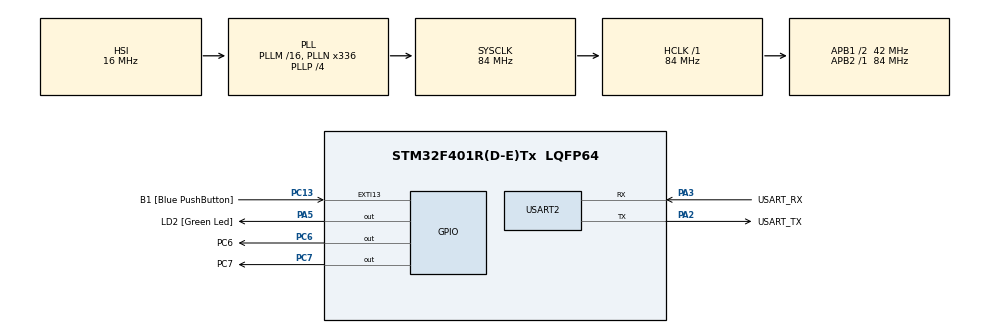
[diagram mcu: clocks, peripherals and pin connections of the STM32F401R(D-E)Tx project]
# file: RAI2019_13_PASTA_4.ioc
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FREERTOS.Tasks01=defaultTask,0,128,StartDefaultTask,Default,NULL
Mcu.Family=STM32F4
Mcu.Name=STM32F401R(D-E)Tx
Mcu.Package=LQFP64
NVIC.PriorityGroup=NVIC_PRIORITYGROUP_4
NVIC.USART2_IRQn=true\:5\:0\:false\:false\:true\:true\:true\:true
PA13.GPIO_Label=TMS
PA13.Mode=Serial_Wire
PA13.Signal=SYS_JTMS-SWDIO
PA14.GPIO_Label=TCK
PA14.Mode=Serial_Wire
PA14.Signal=SYS_JTCK-SWCLK
PA2.GPIO_Label=USART_TX
PA2.GPIO_Mode=GPIO_MODE_AF_PP
PA2.GPIO_PuPd=GPIO_NOPULL
PA2.GPIO_Speed=GPIO_SPEED_FREQ_LOW
PA2.Mode=Asynchronous
PA2.Signal=USART2_TX
PA3.GPIO_Label=USART_RX
PA3.GPIO_Mode=GPIO_MODE_AF_PP
PA3.GPIO_PuPd=GPIO_NOPULL
PA3.GPIO_Speed=GPIO_SPEED_FREQ_LOW
PA3.Mode=Asynchronous
PA3.Signal=USART2_RX
PA5.GPIO_Label=LD2 [Green Led]
PA5.GPIO_Mode=GPIO_MODE_OUTPUT_PP
PA5.GPIO_PuPd=GPIO_NOPULL
PA5.GPIO_Speed=GPIO_SPEED_FREQ_LOW
PA5.Signal=GPIO_Output
PB3.GPIO_Label=SWO
PB3.Signal=SYS_JTDO-SWO
PC13-ANTI_TAMP.GPIO_Label=B1 [Blue PushButton]
PC13-ANTI_TAMP.GPIO_ModeDefaultEXTI=GPIO_MODE_IT_FALLING
PC13-ANTI_TAMP.GPIO_PuPd=GPIO_NOPULL
PC13-ANTI_TAMP.Signal=GPXTI13
PC14-OSC32_IN.Mode=LSE-External-Oscillator
PC14-OSC32_IN.Signal=RCC_OSC32_IN
PC15-OSC32_OUT.Mode=LSE-External-Oscillator
PC15-OSC32_OUT.Signal=RCC_OSC32_OUT
PC6.GPIO_Label=PC6
PC6.Signal=GPIO_Output
PC7.GPIO_Label=PC7
PC7.Signal=GPIO_Output
PH0\ -\ OSC_IN.Mode=HSE-External-Clock-Source
PH0\ -\ OSC_IN.Signal=RCC_OSC_IN
PH1\ -\ OSC_OUT.Mode=HSE-External-Clock-Source
PH1\ -\ OSC_OUT.Signal=RCC_OSC_OUT
ProjectManager.HeapSize=0x200
ProjectManager.StackSize=0x400
ProjectManager.TargetToolchain=SW4STM32
RCC.48MHZClocksFreq_Value=48000000
RCC.AHBFreq_Value=84000000
RCC.APB1CLKDivider=RCC_HCLK_DIV2
RCC.APB1Freq_Value=42000000
RCC.APB1TimFreq_Value=84000000
RCC.APB2Freq_Value=84000000
RCC.APB2TimFreq_Value=84000000
RCC.CortexFreq_Value=84000000
RCC.HCLKFreq_Value=84000000
RCC.HSE_VALUE=8000000
RCC.HSI_VALUE=16000000
RCC.PLLN=336
RCC.PLLP=RCC_PLLP_DIV4
RCC.PLLQ=7
RCC.SYSCLKFreq_VALUE=84000000
RCC.SYSCLKSource=RCC_SYSCLKSOURCE_PLLCLK
RCC.VCOOutputFreq_Value=336000000
USART2.VirtualMode=VM_ASYNC
VP_FREERTOS_VS_CMSIS_V1.Mode=CMSIS_V1
board=NUCLEO-F401RE

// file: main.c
/* USER CODE BEGIN Header */
/**
  ******************************************************************************
  * @file           : main.c
  * @brief          : Main program body
  ******************************************************************************
  * @attention
  *
  * <h2><center>&copy; Copyright (c) 2019 STMicroelectronics.
  * All rights reserved.</center></h2>
  *
  * This software component is licensed by ST under Ultimate Liberty license
  * SLA0044, the "License"; You may not use this file except in compliance with
  * the License. You may obtain a copy of the License at:
  *                             www.st.com/SLA0044
  *
  ******************************************************************************
  */
/* USER CODE END Header */

#include "main.h"
#include "cmsis_os.h"

/* USER CODE BEGIN Includes */
#include <string.h>
/* USER CODE END Includes */

UART_HandleTypeDef huart2;

osThreadId defaultTaskHandle;
/* USER CODE BEGIN PV */
uint8_t buffer[6];
/* USER CODE END PV */

void SystemClock_Config(void);
static void MX_GPIO_Init(void);
static void MX_USART2_UART_Init(void);
void StartDefaultTask(void const * argument);

int main(void)
{

  /* MCU Configuration--------------------------------------------------------*/

  /* Reset of all peripherals, Initializes the Flash interface and the Systick. */
  HAL_Init();

  /* Configure the system clock */
  SystemClock_Config();

  /* Initialize all configured peripherals */
  MX_GPIO_Init();
  MX_USART2_UART_Init();

  /* Create the thread(s) */
  /* definition and creation of defaultTask */
  osThreadDef(defaultTask, StartDefaultTask, osPriorityNormal, 0, 128);
  defaultTaskHandle = osThreadCreate(osThread(defaultTask), NULL);

  /* Start scheduler */
  osKernelStart();

  /* We should never get here as control is now taken by the scheduler */

  /* Infinite loop */
  while (1)
  {

  }
}

void SystemClock_Config(void)
{
  RCC_OscInitTypeDef RCC_OscInitStruct = {0};
  RCC_ClkInitTypeDef RCC_ClkInitStruct = {0};

  /** Configure the main internal regulator output voltage
  */
  __HAL_RCC_PWR_CLK_ENABLE();
  __HAL_PWR_VOLTAGESCALING_CONFIG(PWR_REGULATOR_VOLTAGE_SCALE2);
  /** Initializes the CPU, AHB and APB busses clocks
  */
  RCC_OscInitStruct.OscillatorType = RCC_OSCILLATORTYPE_HSI;
  RCC_OscInitStruct.HSIState = RCC_HSI_ON;
  RCC_OscInitStruct.HSICalibrationValue = RCC_HSICALIBRATION_DEFAULT;
  RCC_OscInitStruct.PLL.PLLState = RCC_PLL_ON;
  RCC_OscInitStruct.PLL.PLLSource = RCC_PLLSOURCE_HSI;
  RCC_OscInitStruct.PLL.PLLM = 16;
  RCC_OscInitStruct.PLL.PLLN = 336;
  RCC_OscInitStruct.PLL.PLLP = RCC_PLLP_DIV4;
  RCC_OscInitStruct.PLL.PLLQ = 7;
  if (HAL_RCC_OscConfig(&RCC_OscInitStruct) != HAL_OK)
  {
    Error_Handler();
  }
  /** Initializes the CPU, AHB and APB busses clocks
  */
  RCC_ClkInitStruct.ClockType = RCC_CLOCKTYPE_HCLK|RCC_CLOCKTYPE_SYSCLK
                              |RCC_CLOCKTYPE_PCLK1|RCC_CLOCKTYPE_PCLK2;
  RCC_ClkInitStruct.SYSCLKSource = RCC_SYSCLKSOURCE_PLLCLK;
  RCC_ClkInitStruct.AHBCLKDivider = RCC_SYSCLK_DIV1;
  RCC_ClkInitStruct.APB1CLKDivider = RCC_HCLK_DIV2;
  RCC_ClkInitStruct.APB2CLKDivider = RCC_HCLK_DIV1;

  if (HAL_RCC_ClockConfig(&RCC_ClkInitStruct, FLASH_LATENCY_2) != HAL_OK)
  {
    Error_Handler();
  }
}

static void MX_USART2_UART_Init(void)
{

  huart2.Instance = USART2;
  huart2.Init.BaudRate = 115200;
  huart2.Init.WordLength = UART_WORDLENGTH_8B;
  huart2.Init.StopBits = UART_STOPBITS_1;
  huart2.Init.Parity = UART_PARITY_NONE;
  huart2.Init.Mode = UART_MODE_TX_RX;
  huart2.Init.HwFlowCtl = UART_HWCONTROL_NONE;
  huart2.Init.OverSampling = UART_OVERSAMPLING_16;
  if (HAL_UART_Init(&huart2) != HAL_OK)
  {
    Error_Handler();
  }

}

static void MX_GPIO_Init(void)
{
  GPIO_InitTypeDef GPIO_InitStruct = {0};

  /* GPIO Ports Clock Enable */
  __HAL_RCC_GPIOC_CLK_ENABLE();
  __HAL_RCC_GPIOH_CLK_ENABLE();
  __HAL_RCC_GPIOA_CLK_ENABLE();
  __HAL_RCC_GPIOB_CLK_ENABLE();

  /*Configure GPIO pin Output Level */
  HAL_GPIO_WritePin(LD2_GPIO_Port, LD2_Pin, GPIO_PIN_RESET);

  /*Configure GPIO pin Output Level */
  HAL_GPIO_WritePin(GPIOC, PC6_Pin|PC7_Pin, GPIO_PIN_RESET);

  /*Configure GPIO pin : B1_Pin */
  GPIO_InitStruct.Pin = B1_Pin;
  GPIO_InitStruct.Mode = GPIO_MODE_IT_FALLING;
  GPIO_InitStruct.Pull = GPIO_NOPULL;
  HAL_GPIO_Init(B1_GPIO_Port, &GPIO_InitStruct);

  /*Configure GPIO pin : LD2_Pin */
  GPIO_InitStruct.Pin = LD2_Pin;
  GPIO_InitStruct.Mode = GPIO_MODE_OUTPUT_PP;
  GPIO_InitStruct.Pull = GPIO_NOPULL;
  GPIO_InitStruct.Speed = GPIO_SPEED_FREQ_LOW;
  HAL_GPIO_Init(LD2_GPIO_Port, &GPIO_InitStruct);

  /*Configure GPIO pins : PC6_Pin PC7_Pin */
  GPIO_InitStruct.Pin = PC6_Pin|PC7_Pin;
  GPIO_InitStruct.Mode = GPIO_MODE_OUTPUT_PP;
  GPIO_InitStruct.Pull = GPIO_NOPULL;
  GPIO_InitStruct.Speed = GPIO_SPEED_FREQ_LOW;
  HAL_GPIO_Init(GPIOC, &GPIO_InitStruct);

}

/* USER CODE BEGIN 4 */
HAL_UART_RxCpltCallback(UART_HandleTypeDef *huart){

	if(strcmp("PIN10",(char *)buffer)==0){
		HAL_UART_Transmit(&huart2,"10",2,1000);
		HAL_GPIO_WritePin(GPIOC,GPIO_PIN_6,0);
	}
	if(strcmp("PIN11",(char *)buffer)==0)

			HAL_GPIO_WritePin(GPIOC,GPIO_PIN_6,1);
	if(strcmp("PIN1T",(char *)buffer)==0)

			HAL_GPIO_TogglePin(GPIOC,GPIO_PIN_6);
	if(strcmp("PIN20",(char *)buffer)==0)

			HAL_GPIO_WritePin(GPIOC,GPIO_PIN_7,0);
		if(strcmp("PIN21",(char *)buffer)==0)

				HAL_GPIO_WritePin(GPIOC,GPIO_PIN_7,1);
		if(strcmp("PIN2T",(char *)buffer)==0)

				HAL_GPIO_TogglePin(GPIOC,GPIO_PIN_7);

	memset(buffer, 0, 6);
	HAL_UART_Receive_IT(&huart2,(uint8_t *)buffer,5);
	//HAL_UART_Receive_IT(&huart2,(uint8_t *)buffer,10);

}
/* USER CODE END 4 */

void StartDefaultTask(void const * argument)
{

  /* USER CODE BEGIN 5 */
  /* Infinite loop */
	buffer[5] = '\0';
  for(;;)
  {
	  HAL_UART_Receive_IT(&huart2,buffer,5);

    osDelay(1);
  }
  /* USER CODE END 5 */
}

void Error_Handler(void)
{
}

/************************ (C) COPYRIGHT STMicroelectronics *****END OF FILE****/
